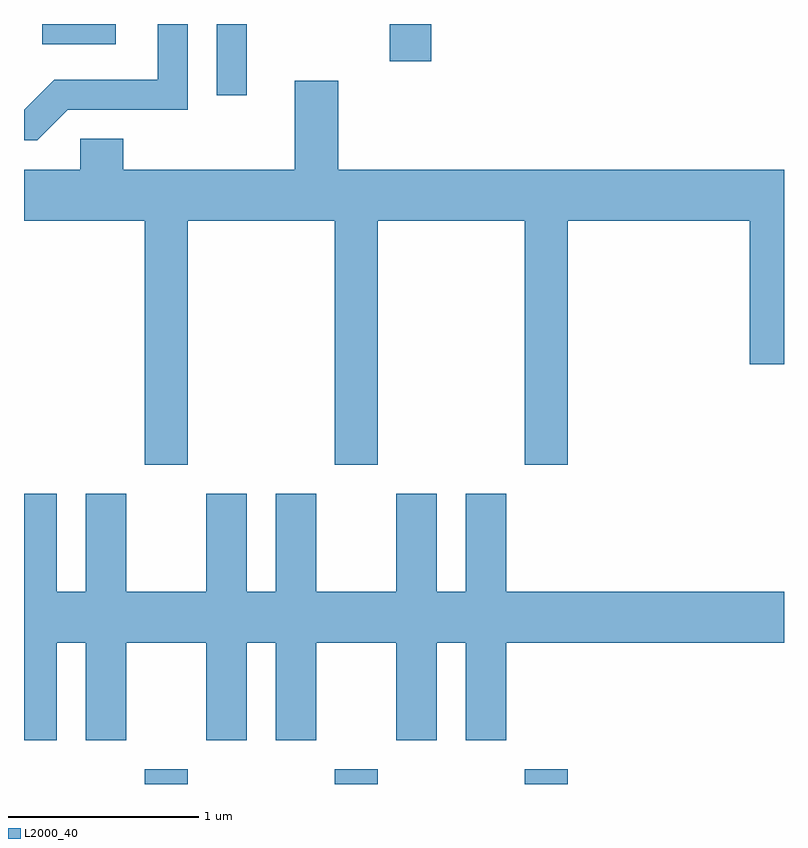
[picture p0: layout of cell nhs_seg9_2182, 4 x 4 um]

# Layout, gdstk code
import gdstk
lib = gdstk.Library(unit=1e-6, precision=1e-09)
def R(c, l, rs):  # rectangles x0, y0, x1, y1
    for r in rs: c.add(gdstk.rectangle(r[:2], r[2:], *l))
def A(c, l, x, y, w, h, nx, ny, dx, dy):  # array of equal rectangles
    R(c, l, [(x+i*dx, y+j*dy, x+i*dx+w, y+j*dy+h) for i in range(nx) for j in range(ny)])
def P(c, l, *ps):  # polygons
    for p in ps: c.add(gdstk.Polygon(p, *l))
L2000_40 = (2000, 40)

nhs_seg9_2182 = lib.new_cell('nhs_seg9_2182')
A(nhs_seg9_2182, L2000_40, 250.246, 1964.432, 0.228, 0.077, 3, 1, 1, 0)
R(nhs_seg9_2182, L2000_40, [(250.626,1968.058,250.784,1968.432), (251.536,1968.236,251.754,1968.432), (249.706,1968.326,250.094,1968.432)])
P(nhs_seg9_2182, L2000_40, [(249.842,1967.981),(250.474,1967.981),(250.474,1968.432),(250.316,1968.432),(250.316,1968.139),(249.769,1968.139),(249.611,1967.981),(249.611,1967.821),(249.682,1967.821)],
  [(251.246,1966.111),(251.474,1966.111),(251.474,1967.396),(252.246,1967.396),(252.246,1966.111),(252.474,1966.111),(252.474,1967.396),(253.431,1967.396),(253.431,1966.641),(253.611,1966.641),(253.611,1967.664),(251.264,1967.664),(251.264,1968.134),(251.036,1968.134),(251.036,1967.664),(250.134,1967.664),(250.134,1967.829),(249.906,1967.829),(249.906,1967.664),(249.611,1967.664),(249.611,1967.396),(250.246,1967.396),(250.246,1966.111),(250.474,1966.111),(250.474,1967.396),(251.246,1967.396)],
  [(250.936,1965.959),(250.936,1965.444),(250.784,1965.444),(250.784,1965.959),(250.571,1965.959),(250.571,1965.444),(250.149,1965.444),(250.149,1965.959),(249.936,1965.959),(249.936,1965.444),(249.784,1965.444),(249.784,1965.959),(249.611,1965.959),(249.611,1964.661),(249.784,1964.661),(249.784,1965.176),(249.936,1965.176),(249.936,1964.661),(250.149,1964.661),(250.149,1965.176),(250.571,1965.176),(250.571,1964.661),(250.784,1964.661),(250.784,1965.176),(250.936,1965.176),(250.936,1964.661),(251.149,1964.661),(251.149,1965.176),(251.571,1965.176),(251.571,1964.661),(251.784,1964.661),(251.784,1965.176),(251.936,1965.176),(251.936,1964.661),(252.149,1964.661),(252.149,1965.176),(253.611,1965.176),(253.611,1965.444),(252.149,1965.444),(252.149,1965.959),(251.936,1965.959),(251.936,1965.444),(251.784,1965.444),(251.784,1965.959),(251.571,1965.959),(251.571,1965.444),(251.149,1965.444),(251.149,1965.959)])

lib.write_gds('nhs_seg9_2182.gds')
